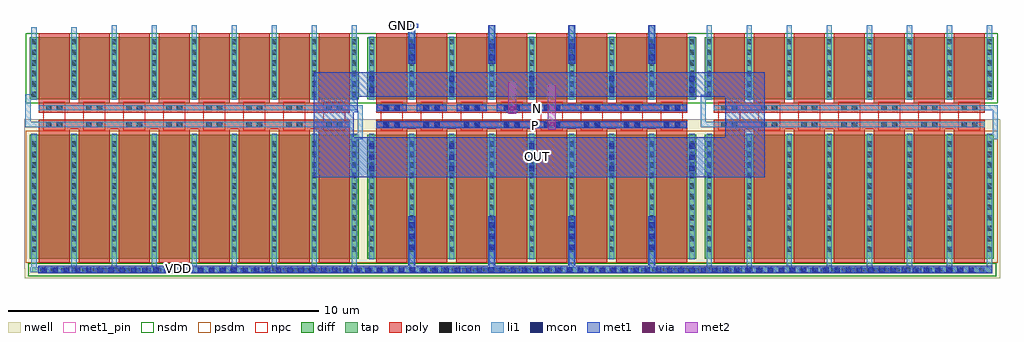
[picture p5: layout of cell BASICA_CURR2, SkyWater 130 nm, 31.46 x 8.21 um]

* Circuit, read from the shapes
.subckt BASICA_CURR2 GND N OUT P VDD
XM1 sky130_fd_pr__nfet_01v8_A54J54_5/S1 VDD sky130_fd_pr__nfet_01v8_A54J54_5/D0 VSUBS sky130_fd_pr__nfet_01v8 w=2 l=1
XM2 sky130_fd_pr__nfet_01v8_A54J54_5/D2 VDD sky130_fd_pr__nfet_01v8_A54J54_5/S1 VSUBS sky130_fd_pr__nfet_01v8 w=2 l=1
XM3 sky130_fd_pr__nfet_01v8_A54J54_5/S3 VDD sky130_fd_pr__nfet_01v8_A54J54_5/D2 VSUBS sky130_fd_pr__nfet_01v8 w=2 l=1
XM4 sky130_fd_pr__nfet_01v8_A54J54_5/D4 VDD sky130_fd_pr__nfet_01v8_A54J54_5/S3 VSUBS sky130_fd_pr__nfet_01v8 w=2 l=1
XM5 sky130_fd_pr__nfet_01v8_A54J54_5/S5 VDD sky130_fd_pr__nfet_01v8_A54J54_5/D4 VSUBS sky130_fd_pr__nfet_01v8 w=2 l=1
XM6 sky130_fd_pr__nfet_01v8_A54J54_5/D6 VDD sky130_fd_pr__nfet_01v8_A54J54_5/S5 VSUBS sky130_fd_pr__nfet_01v8 w=2 l=1
XM7 sky130_fd_pr__nfet_01v8_A54J54_5/S7 VDD sky130_fd_pr__nfet_01v8_A54J54_5/D6 VSUBS sky130_fd_pr__nfet_01v8 w=2 l=1
XM8 n1 VDD sky130_fd_pr__nfet_01v8_A54J54_5/S7 VSUBS sky130_fd_pr__nfet_01v8 w=2 l=1
XM9 GND N OUT VSUBS sky130_fd_pr__nfet_01v8 w=2 l=1 m=2
XM10 sky130_fd_pr__nfet_01v8_WVHLJF_1/S3 N OUT VSUBS sky130_fd_pr__nfet_01v8 w=2 l=1 m=2
XM11 sky130_fd_pr__nfet_01v8_WVHLJF_1/S5 N OUT VSUBS sky130_fd_pr__nfet_01v8 w=2 l=1 m=2
XM12 sky130_fd_pr__nfet_01v8_WVHLJF_1/S7 N OUT VSUBS sky130_fd_pr__nfet_01v8 w=2 l=1 m=2
XM13 sky130_fd_pr__nfet_01v8_SGNXS3_3/S1 VDD sky130_fd_pr__nfet_01v8_SGNXS3_3/D0 VSUBS sky130_fd_pr__nfet_01v8 w=2 l=1
XM14 sky130_fd_pr__nfet_01v8_SGNXS3_3/D2 VDD sky130_fd_pr__nfet_01v8_SGNXS3_3/S1 VSUBS sky130_fd_pr__nfet_01v8 w=2 l=1
XM15 sky130_fd_pr__nfet_01v8_SGNXS3_3/S3 VDD sky130_fd_pr__nfet_01v8_SGNXS3_3/D2 VSUBS sky130_fd_pr__nfet_01v8 w=2 l=1
XM16 sky130_fd_pr__nfet_01v8_SGNXS3_3/D4 VDD sky130_fd_pr__nfet_01v8_SGNXS3_3/S3 VSUBS sky130_fd_pr__nfet_01v8 w=2 l=1
XM17 sky130_fd_pr__nfet_01v8_SGNXS3_3/S5 VDD sky130_fd_pr__nfet_01v8_SGNXS3_3/D4 VSUBS sky130_fd_pr__nfet_01v8 w=2 l=1
XM18 sky130_fd_pr__nfet_01v8_SGNXS3_3/D6 VDD sky130_fd_pr__nfet_01v8_SGNXS3_3/S5 VSUBS sky130_fd_pr__nfet_01v8 w=2 l=1
XM19 sky130_fd_pr__nfet_01v8_SGNXS3_3/S6 VDD sky130_fd_pr__nfet_01v8_SGNXS3_3/D6 VSUBS sky130_fd_pr__nfet_01v8 w=2 l=1
XM20 VDD sky130_fd_pr__nfet_01v8_A54J54_5/D0 VDD VDD sky130_fd_pr__pfet_01v8 w=4 l=1 m=8
XM21 VDD P OUT VDD sky130_fd_pr__pfet_01v8 w=4 l=1 m=8
XM22 VDD sky130_fd_pr__nfet_01v8_SGNXS3_3/D0 VDD VDD sky130_fd_pr__pfet_01v8 w=4 l=1 m=7
.ends

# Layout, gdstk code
import gdstk
lib = gdstk.Library(unit=1e-6, precision=1e-09)
def R(c, l, rs):  # rectangles x0, y0, x1, y1
    for r in rs: c.add(gdstk.rectangle(r[:2], r[2:], *l))
def A(c, l, x, y, w, h, nx, ny, dx, dy):  # array of equal rectangles
    R(c, l, [(x+i*dx, y+j*dy, x+i*dx+w, y+j*dy+h) for i in range(nx) for j in range(ny)])
nwell = (64, 20)
diff = (65, 20)
tap = (65, 44)
poly = (66, 20)
licon = (66, 44)
li1 = (67, 20)
mcon = (67, 44)
met1_pin = (68, 16)
met1 = (68, 20)
via = (68, 44)
met2 = (69, 20)
nsdm = (93, 44)
psdm = (94, 20)
npc = (95, 20)

sky130_fd_pr__pfet_01v8_ = lib.new_cell('sky130_fd_pr__pfet_01v8_A72WCW')
R(sky130_fd_pr__pfet_01v8_, nwell, [(-5.485,-2.49,5.485,2.32)])
R(sky130_fd_pr__pfet_01v8_, diff, [(-5.305,-2.18,5.305,1.82)])
A(sky130_fd_pr__pfet_01v8_, poly, -5.015, -2.31, 1, 4.615, 8, 1, 1.29, 0)
A(sky130_fd_pr__pfet_01v8_, licon, -5.245, -1.965, 0.17, 0.17, 9, 11, 1.29, 0.34)
R(sky130_fd_pr__pfet_01v8_, licon, [(-4.77,2.055,-4.6,2.225), (-4.43,2.055,-4.26,2.225), (-3.48,2.055,-3.31,2.225), (-3.14,2.055,-2.97,2.225), (-2.19,2.055,-2.02,2.225), (-1.85,2.055,-1.68,2.225), (-0.9,2.055,-0.73,2.225), (-0.56,2.055,-0.39,2.225), (0.39,2.055,0.56,2.225), (0.73,2.055,0.9,2.225), (1.68,2.055,1.85,2.225), (2.02,2.055,2.19,2.225), (2.97,2.055,3.14,2.225), (3.31,2.055,3.48,2.225), (4.26,2.055,4.43,2.225), (4.6,2.055,4.77,2.225)])
A(sky130_fd_pr__pfet_01v8_, li1, -5.245, -2.2, 0.17, 4.04, 9, 1, 1.29, 0)
A(sky130_fd_pr__pfet_01v8_, li1, -5.015, 2.055, 1, 0.17, 8, 1, 1.29, 0)
A(sky130_fd_pr__pfet_01v8_, mcon, -3.955, -1.9, 0.17, 0.17, 4, 3, 2.58, 0.36)
A(sky130_fd_pr__pfet_01v8_, mcon, -5.245, 0.645, 0.17, 0.17, 5, 3, 2.58, 0.36)
R(sky130_fd_pr__pfet_01v8_, mcon, [(-4.78,2.055,-4.61,2.225), (-4.42,2.055,-4.25,2.225), (-3.49,2.055,-3.32,2.225), (-3.13,2.055,-2.96,2.225), (-2.2,2.055,-2.03,2.225), (-1.84,2.055,-1.67,2.225), (-0.91,2.055,-0.74,2.225), (-0.55,2.055,-0.38,2.225), (0.38,2.055,0.55,2.225), (0.74,2.055,0.91,2.225), (1.67,2.055,1.84,2.225), (2.03,2.055,2.2,2.225), (2.96,2.055,3.13,2.225), (3.32,2.055,3.49,2.225), (4.25,2.055,4.42,2.225), (4.61,2.055,4.78,2.225)])
A(sky130_fd_pr__pfet_01v8_, met1, -3.985, -2.095, 0.23, 1.285, 4, 1, 2.58, 0)
A(sky130_fd_pr__pfet_01v8_, met1, -5.275, 0.45, 0.23, 1.285, 5, 1, 2.58, 0)
A(sky130_fd_pr__pfet_01v8_, met1, -4.995, 2.025, 0.96, 0.23, 8, 1, 1.29, 0)
R(sky130_fd_pr__pfet_01v8_, psdm, [(-5.43,-2.305,5.43,1.945)])
A(sky130_fd_pr__pfet_01v8_, npc, -4.87, 1.955, 0.71, 0.37, 8, 1, 1.29, 0)
sky130_fd_pr__pfet_01v8_.add(gdstk.Label('D0', (-5.16,-0.18), layer=67, texttype=5))
sky130_fd_pr__pfet_01v8_.add(gdstk.Label('G0', (-4.515,2.14), layer=67, texttype=5))
sky130_fd_pr__pfet_01v8_.add(gdstk.Label('S1', (-3.87,-0.18), layer=67, texttype=5))
sky130_fd_pr__pfet_01v8_.add(gdstk.Label('G1', (-3.225,2.14), layer=67, texttype=5))
sky130_fd_pr__pfet_01v8_.add(gdstk.Label('D2', (-2.58,-0.18), layer=67, texttype=5))
sky130_fd_pr__pfet_01v8_.add(gdstk.Label('G2', (-1.935,2.14), layer=67, texttype=5))
sky130_fd_pr__pfet_01v8_.add(gdstk.Label('S3', (-1.29,-0.18), layer=67, texttype=5))
sky130_fd_pr__pfet_01v8_.add(gdstk.Label('G3', (-0.645,2.14), layer=67, texttype=5))
sky130_fd_pr__pfet_01v8_.add(gdstk.Label('D4', (0,-0.18), layer=67, texttype=5))
sky130_fd_pr__pfet_01v8_.add(gdstk.Label('G4', (0.645,2.14), layer=67, texttype=5))
sky130_fd_pr__pfet_01v8_.add(gdstk.Label('S5', (1.29,-0.18), layer=67, texttype=5))
sky130_fd_pr__pfet_01v8_.add(gdstk.Label('G5', (1.935,2.14), layer=67, texttype=5))
sky130_fd_pr__pfet_01v8_.add(gdstk.Label('D6', (2.58,-0.18), layer=67, texttype=5))
sky130_fd_pr__pfet_01v8_.add(gdstk.Label('G6', (3.225,2.14), layer=67, texttype=5))
sky130_fd_pr__pfet_01v8_.add(gdstk.Label('S7', (3.87,-0.18), layer=67, texttype=5))
sky130_fd_pr__pfet_01v8_.add(gdstk.Label('G7', (4.515,2.14), layer=67, texttype=5))

sky130_fd_pr__nfet_01v8_ = lib.new_cell('sky130_fd_pr__nfet_01v8_WVHLJF')
R(sky130_fd_pr__nfet_01v8_, diff, [(-5.305,-0.845,5.305,1.155)])
A(sky130_fd_pr__nfet_01v8_, poly, -5.015, -1.285, 1, 2.57, 8, 1, 1.29, 0)
A(sky130_fd_pr__nfet_01v8_, licon, -5.245, -0.78, 0.17, 0.17, 9, 6, 1.29, 0.34)
R(sky130_fd_pr__nfet_01v8_, licon, [(-4.77,-1.205,-4.6,-1.035), (-4.43,-1.205,-4.26,-1.035), (-3.48,-1.205,-3.31,-1.035), (-3.14,-1.205,-2.97,-1.035), (-2.19,-1.205,-2.02,-1.035), (-1.85,-1.205,-1.68,-1.035), (-0.9,-1.205,-0.73,-1.035), (-0.56,-1.205,-0.39,-1.035), (0.39,-1.205,0.56,-1.035), (0.73,-1.205,0.9,-1.035), (1.68,-1.205,1.85,-1.035), (2.02,-1.205,2.19,-1.035), (2.97,-1.205,3.14,-1.035), (3.31,-1.205,3.48,-1.035), (4.26,-1.205,4.43,-1.035), (4.6,-1.205,4.77,-1.035)])
A(sky130_fd_pr__nfet_01v8_, li1, -5.015, -1.205, 1, 0.17, 8, 1, 1.29, 0)
A(sky130_fd_pr__nfet_01v8_, li1, -5.245, -0.865, 0.17, 2.04, 9, 1, 1.29, 0)
A(sky130_fd_pr__nfet_01v8_, mcon, -5.245, -0.635, 0.17, 0.17, 5, 2, 2.58, 0.36)
A(sky130_fd_pr__nfet_01v8_, mcon, -3.955, 0.415, 0.17, 0.17, 4, 2, 2.58, 0.36)
R(sky130_fd_pr__nfet_01v8_, mcon, [(-4.78,-1.205,-4.61,-1.035), (-4.42,-1.205,-4.25,-1.035), (-3.49,-1.205,-3.32,-1.035), (-3.13,-1.205,-2.96,-1.035), (-2.2,-1.205,-2.03,-1.035), (-1.84,-1.205,-1.67,-1.035), (-0.91,-1.205,-0.74,-1.035), (-0.55,-1.205,-0.38,-1.035), (0.38,-1.205,0.55,-1.035), (0.74,-1.205,0.91,-1.035), (1.67,-1.205,1.84,-1.035), (2.03,-1.205,2.2,-1.035), (2.96,-1.205,3.13,-1.035), (3.32,-1.205,3.49,-1.035), (4.25,-1.205,4.42,-1.035), (4.61,-1.205,4.78,-1.035)])
A(sky130_fd_pr__nfet_01v8_, met1, -4.995, -1.235, 0.96, 0.23, 8, 1, 1.29, 0)
A(sky130_fd_pr__nfet_01v8_, met1, -5.275, -0.76, 0.23, 0.78, 5, 1, 2.58, 0)
A(sky130_fd_pr__nfet_01v8_, met1, -3.985, 0.29, 0.23, 0.78, 4, 1, 2.58, 0)
R(sky130_fd_pr__nfet_01v8_, nsdm, [(-5.43,-0.97,5.43,1.28)])
A(sky130_fd_pr__nfet_01v8_, npc, -4.87, -1.305, 0.71, 0.37, 8, 1, 1.29, 0)
sky130_fd_pr__nfet_01v8_.add(gdstk.Label('D0', (-5.16,0.155), layer=67, texttype=5))
sky130_fd_pr__nfet_01v8_.add(gdstk.Label('G0', (-4.515,-1.12), layer=67, texttype=5))
sky130_fd_pr__nfet_01v8_.add(gdstk.Label('S1', (-3.87,0.155), layer=67, texttype=5))
sky130_fd_pr__nfet_01v8_.add(gdstk.Label('G1', (-3.225,-1.12), layer=67, texttype=5))
sky130_fd_pr__nfet_01v8_.add(gdstk.Label('D2', (-2.58,0.155), layer=67, texttype=5))
sky130_fd_pr__nfet_01v8_.add(gdstk.Label('G2', (-1.935,-1.12), layer=67, texttype=5))
sky130_fd_pr__nfet_01v8_.add(gdstk.Label('S3', (-1.29,0.155), layer=67, texttype=5))
sky130_fd_pr__nfet_01v8_.add(gdstk.Label('G3', (-0.645,-1.12), layer=67, texttype=5))
sky130_fd_pr__nfet_01v8_.add(gdstk.Label('D4', (0,0.155), layer=67, texttype=5))
sky130_fd_pr__nfet_01v8_.add(gdstk.Label('G4', (0.645,-1.12), layer=67, texttype=5))
sky130_fd_pr__nfet_01v8_.add(gdstk.Label('S5', (1.29,0.155), layer=67, texttype=5))
sky130_fd_pr__nfet_01v8_.add(gdstk.Label('G5', (1.935,-1.12), layer=67, texttype=5))
sky130_fd_pr__nfet_01v8_.add(gdstk.Label('D6', (2.58,0.155), layer=67, texttype=5))
sky130_fd_pr__nfet_01v8_.add(gdstk.Label('G6', (3.225,-1.12), layer=67, texttype=5))
sky130_fd_pr__nfet_01v8_.add(gdstk.Label('S7', (3.87,0.155), layer=67, texttype=5))
sky130_fd_pr__nfet_01v8_.add(gdstk.Label('G7', (4.515,-1.12), layer=67, texttype=5))

c_sky130_fd_pr__pfet_01v8_ = lib.new_cell('sky130_fd_pr__pfet_01v8_CNM2L8')
R(c_sky130_fd_pr__pfet_01v8_, nwell, [(-4.84,-2.49,4.84,2.32)])
R(c_sky130_fd_pr__pfet_01v8_, diff, [(-4.66,-2.18,4.66,1.82)])
A(c_sky130_fd_pr__pfet_01v8_, poly, -4.37, -2.31, 1, 4.615, 7, 1, 1.29, 0)
A(c_sky130_fd_pr__pfet_01v8_, licon, -4.6, -1.965, 0.17, 0.17, 8, 11, 1.29, 0.34)
R(c_sky130_fd_pr__pfet_01v8_, licon, [(-4.125,2.055,-3.955,2.225), (-3.785,2.055,-3.615,2.225), (-2.835,2.055,-2.665,2.225), (-2.495,2.055,-2.325,2.225), (-1.545,2.055,-1.375,2.225), (-1.205,2.055,-1.035,2.225), (-0.255,2.055,-0.085,2.225), (0.085,2.055,0.255,2.225), (1.035,2.055,1.205,2.225), (1.375,2.055,1.545,2.225), (2.325,2.055,2.495,2.225), (2.665,2.055,2.835,2.225), (3.615,2.055,3.785,2.225), (3.955,2.055,4.125,2.225)])
A(c_sky130_fd_pr__pfet_01v8_, li1, -4.6, -2.2, 0.17, 4.04, 8, 1, 1.29, 0)
A(c_sky130_fd_pr__pfet_01v8_, li1, -4.37, 2.055, 1, 0.17, 7, 1, 1.29, 0)
R(c_sky130_fd_pr__pfet_01v8_, psdm, [(-4.785,-2.305,4.785,1.945)])
A(c_sky130_fd_pr__pfet_01v8_, npc, -4.225, 1.955, 0.71, 0.37, 7, 1, 1.29, 0)
c_sky130_fd_pr__pfet_01v8_.add(gdstk.Label('D0', (-4.515,-0.18), layer=67, texttype=5))
c_sky130_fd_pr__pfet_01v8_.add(gdstk.Label('G0', (-3.87,2.14), layer=67, texttype=5))
c_sky130_fd_pr__pfet_01v8_.add(gdstk.Label('S1', (-3.225,-0.18), layer=67, texttype=5))
c_sky130_fd_pr__pfet_01v8_.add(gdstk.Label('G1', (-2.58,2.14), layer=67, texttype=5))
c_sky130_fd_pr__pfet_01v8_.add(gdstk.Label('D2', (-1.935,-0.18), layer=67, texttype=5))
c_sky130_fd_pr__pfet_01v8_.add(gdstk.Label('G2', (-1.29,2.14), layer=67, texttype=5))
c_sky130_fd_pr__pfet_01v8_.add(gdstk.Label('S3', (-0.645,-0.18), layer=67, texttype=5))
c_sky130_fd_pr__pfet_01v8_.add(gdstk.Label('G3', (0,2.14), layer=67, texttype=5))
c_sky130_fd_pr__pfet_01v8_.add(gdstk.Label('D4', (0.645,-0.18), layer=67, texttype=5))
c_sky130_fd_pr__pfet_01v8_.add(gdstk.Label('G4', (1.29,2.14), layer=67, texttype=5))
c_sky130_fd_pr__pfet_01v8_.add(gdstk.Label('S5', (1.935,-0.18), layer=67, texttype=5))
c_sky130_fd_pr__pfet_01v8_.add(gdstk.Label('G5', (2.58,2.14), layer=67, texttype=5))
c_sky130_fd_pr__pfet_01v8_.add(gdstk.Label('D6', (3.225,-0.18), layer=67, texttype=5))
c_sky130_fd_pr__pfet_01v8_.add(gdstk.Label('S6', (4.515,-0.18), layer=67, texttype=5))
c_sky130_fd_pr__pfet_01v8_.add(gdstk.Label('G6', (3.87,2.14), layer=67, texttype=5))

c_sky130_fd_pr__nfet_01v8_ = lib.new_cell('sky130_fd_pr__nfet_01v8_SGNXS3')
R(c_sky130_fd_pr__nfet_01v8_, diff, [(-4.66,-0.845,4.66,1.155)])
A(c_sky130_fd_pr__nfet_01v8_, poly, -4.37, -1.285, 1, 2.57, 7, 1, 1.29, 0)
A(c_sky130_fd_pr__nfet_01v8_, licon, -4.6, -0.78, 0.17, 0.17, 8, 6, 1.29, 0.34)
R(c_sky130_fd_pr__nfet_01v8_, licon, [(-4.125,-1.205,-3.955,-1.035), (-3.785,-1.205,-3.615,-1.035), (-2.835,-1.205,-2.665,-1.035), (-2.495,-1.205,-2.325,-1.035), (-1.545,-1.205,-1.375,-1.035), (-1.205,-1.205,-1.035,-1.035), (-0.255,-1.205,-0.085,-1.035), (0.085,-1.205,0.255,-1.035), (1.035,-1.205,1.205,-1.035), (1.375,-1.205,1.545,-1.035), (2.325,-1.205,2.495,-1.035), (2.665,-1.205,2.835,-1.035), (3.615,-1.205,3.785,-1.035), (3.955,-1.205,4.125,-1.035)])
A(c_sky130_fd_pr__nfet_01v8_, li1, -4.37, -1.205, 1, 0.17, 7, 1, 1.29, 0)
A(c_sky130_fd_pr__nfet_01v8_, li1, -4.6, -0.865, 0.17, 2.04, 8, 1, 1.29, 0)
R(c_sky130_fd_pr__nfet_01v8_, nsdm, [(-4.785,-0.97,4.785,1.28)])
A(c_sky130_fd_pr__nfet_01v8_, npc, -4.225, -1.305, 0.71, 0.37, 7, 1, 1.29, 0)
c_sky130_fd_pr__nfet_01v8_.add(gdstk.Label('D0', (-4.515,0.155), layer=67, texttype=5))
c_sky130_fd_pr__nfet_01v8_.add(gdstk.Label('G0', (-3.87,-1.12), layer=67, texttype=5))
c_sky130_fd_pr__nfet_01v8_.add(gdstk.Label('S1', (-3.225,0.155), layer=67, texttype=5))
c_sky130_fd_pr__nfet_01v8_.add(gdstk.Label('G1', (-2.58,-1.12), layer=67, texttype=5))
c_sky130_fd_pr__nfet_01v8_.add(gdstk.Label('D2', (-1.935,0.155), layer=67, texttype=5))
c_sky130_fd_pr__nfet_01v8_.add(gdstk.Label('G2', (-1.29,-1.12), layer=67, texttype=5))
c_sky130_fd_pr__nfet_01v8_.add(gdstk.Label('S3', (-0.645,0.155), layer=67, texttype=5))
c_sky130_fd_pr__nfet_01v8_.add(gdstk.Label('G3', (0,-1.12), layer=67, texttype=5))
c_sky130_fd_pr__nfet_01v8_.add(gdstk.Label('D4', (0.645,0.155), layer=67, texttype=5))
c_sky130_fd_pr__nfet_01v8_.add(gdstk.Label('G4', (1.29,-1.12), layer=67, texttype=5))
c_sky130_fd_pr__nfet_01v8_.add(gdstk.Label('S5', (1.935,0.155), layer=67, texttype=5))
c_sky130_fd_pr__nfet_01v8_.add(gdstk.Label('G5', (2.58,-1.12), layer=67, texttype=5))
c_sky130_fd_pr__nfet_01v8_.add(gdstk.Label('D6', (3.225,0.155), layer=67, texttype=5))
c_sky130_fd_pr__nfet_01v8_.add(gdstk.Label('S6', (4.515,0.155), layer=67, texttype=5))
c_sky130_fd_pr__nfet_01v8_.add(gdstk.Label('G6', (3.87,-1.12), layer=67, texttype=5))

c_sky130_fd_pr__pfet_01v8__ = lib.new_cell('sky130_fd_pr__pfet_01v8_CNM2X7')
R(c_sky130_fd_pr__pfet_01v8__, nwell, [(-5.485,-2.49,5.485,2.32)])
R(c_sky130_fd_pr__pfet_01v8__, diff, [(-5.305,-2.18,5.305,1.82)])
A(c_sky130_fd_pr__pfet_01v8__, poly, -5.015, -2.31, 1, 4.615, 8, 1, 1.29, 0)
A(c_sky130_fd_pr__pfet_01v8__, licon, -5.245, -1.965, 0.17, 0.17, 9, 11, 1.29, 0.34)
R(c_sky130_fd_pr__pfet_01v8__, licon, [(-4.77,2.055,-4.6,2.225), (-4.43,2.055,-4.26,2.225), (-3.48,2.055,-3.31,2.225), (-3.14,2.055,-2.97,2.225), (-2.19,2.055,-2.02,2.225), (-1.85,2.055,-1.68,2.225), (-0.9,2.055,-0.73,2.225), (-0.56,2.055,-0.39,2.225), (0.39,2.055,0.56,2.225), (0.73,2.055,0.9,2.225), (1.68,2.055,1.85,2.225), (2.02,2.055,2.19,2.225), (2.97,2.055,3.14,2.225), (3.31,2.055,3.48,2.225), (4.26,2.055,4.43,2.225), (4.6,2.055,4.77,2.225)])
A(c_sky130_fd_pr__pfet_01v8__, li1, -5.245, -2.2, 0.17, 4.04, 9, 1, 1.29, 0)
A(c_sky130_fd_pr__pfet_01v8__, li1, -5.015, 2.055, 1, 0.17, 8, 1, 1.29, 0)
R(c_sky130_fd_pr__pfet_01v8__, psdm, [(-5.43,-2.305,5.43,1.945)])
A(c_sky130_fd_pr__pfet_01v8__, npc, -4.87, 1.955, 0.71, 0.37, 8, 1, 1.29, 0)
c_sky130_fd_pr__pfet_01v8__.add(gdstk.Label('D0', (-5.16,-0.18), layer=67, texttype=5))
c_sky130_fd_pr__pfet_01v8__.add(gdstk.Label('G0', (-4.515,2.14), layer=67, texttype=5))
c_sky130_fd_pr__pfet_01v8__.add(gdstk.Label('S1', (-3.87,-0.18), layer=67, texttype=5))
c_sky130_fd_pr__pfet_01v8__.add(gdstk.Label('G1', (-3.225,2.14), layer=67, texttype=5))
c_sky130_fd_pr__pfet_01v8__.add(gdstk.Label('D2', (-2.58,-0.18), layer=67, texttype=5))
c_sky130_fd_pr__pfet_01v8__.add(gdstk.Label('G2', (-1.935,2.14), layer=67, texttype=5))
c_sky130_fd_pr__pfet_01v8__.add(gdstk.Label('S3', (-1.29,-0.18), layer=67, texttype=5))
c_sky130_fd_pr__pfet_01v8__.add(gdstk.Label('G3', (-0.645,2.14), layer=67, texttype=5))
c_sky130_fd_pr__pfet_01v8__.add(gdstk.Label('D4', (0,-0.18), layer=67, texttype=5))
c_sky130_fd_pr__pfet_01v8__.add(gdstk.Label('G4', (0.645,2.14), layer=67, texttype=5))
c_sky130_fd_pr__pfet_01v8__.add(gdstk.Label('S5', (1.29,-0.18), layer=67, texttype=5))
c_sky130_fd_pr__pfet_01v8__.add(gdstk.Label('G5', (1.935,2.14), layer=67, texttype=5))
c_sky130_fd_pr__pfet_01v8__.add(gdstk.Label('D6', (2.58,-0.18), layer=67, texttype=5))
c_sky130_fd_pr__pfet_01v8__.add(gdstk.Label('G6', (3.225,2.14), layer=67, texttype=5))
c_sky130_fd_pr__pfet_01v8__.add(gdstk.Label('S7', (3.87,-0.18), layer=67, texttype=5))
c_sky130_fd_pr__pfet_01v8__.add(gdstk.Label('G7', (4.515,2.14), layer=67, texttype=5))

c_sky130_fd_pr__nfet_01v8__ = lib.new_cell('sky130_fd_pr__nfet_01v8_A54J54')
R(c_sky130_fd_pr__nfet_01v8__, diff, [(-5.305,-0.845,5.305,1.155)])
A(c_sky130_fd_pr__nfet_01v8__, poly, -5.015, -1.285, 1, 2.57, 8, 1, 1.29, 0)
A(c_sky130_fd_pr__nfet_01v8__, licon, -5.245, -0.78, 0.17, 0.17, 9, 6, 1.29, 0.34)
R(c_sky130_fd_pr__nfet_01v8__, licon, [(-4.77,-1.205,-4.6,-1.035), (-4.43,-1.205,-4.26,-1.035), (-3.48,-1.205,-3.31,-1.035), (-3.14,-1.205,-2.97,-1.035), (-2.19,-1.205,-2.02,-1.035), (-1.85,-1.205,-1.68,-1.035), (-0.9,-1.205,-0.73,-1.035), (-0.56,-1.205,-0.39,-1.035), (0.39,-1.205,0.56,-1.035), (0.73,-1.205,0.9,-1.035), (1.68,-1.205,1.85,-1.035), (2.02,-1.205,2.19,-1.035), (2.97,-1.205,3.14,-1.035), (3.31,-1.205,3.48,-1.035), (4.26,-1.205,4.43,-1.035), (4.6,-1.205,4.77,-1.035)])
A(c_sky130_fd_pr__nfet_01v8__, li1, -5.015, -1.205, 1, 0.17, 8, 1, 1.29, 0)
A(c_sky130_fd_pr__nfet_01v8__, li1, -5.245, -0.865, 0.17, 2.04, 9, 1, 1.29, 0)
R(c_sky130_fd_pr__nfet_01v8__, nsdm, [(-5.43,-0.97,5.43,1.28)])
A(c_sky130_fd_pr__nfet_01v8__, npc, -4.87, -1.305, 0.71, 0.37, 8, 1, 1.29, 0)
c_sky130_fd_pr__nfet_01v8__.add(gdstk.Label('D0', (-5.16,0.155), layer=67, texttype=5))
c_sky130_fd_pr__nfet_01v8__.add(gdstk.Label('G0', (-4.515,-1.12), layer=67, texttype=5))
c_sky130_fd_pr__nfet_01v8__.add(gdstk.Label('S1', (-3.87,0.155), layer=67, texttype=5))
c_sky130_fd_pr__nfet_01v8__.add(gdstk.Label('G1', (-3.225,-1.12), layer=67, texttype=5))
c_sky130_fd_pr__nfet_01v8__.add(gdstk.Label('D2', (-2.58,0.155), layer=67, texttype=5))
c_sky130_fd_pr__nfet_01v8__.add(gdstk.Label('G2', (-1.935,-1.12), layer=67, texttype=5))
c_sky130_fd_pr__nfet_01v8__.add(gdstk.Label('S3', (-1.29,0.155), layer=67, texttype=5))
c_sky130_fd_pr__nfet_01v8__.add(gdstk.Label('G3', (-0.645,-1.12), layer=67, texttype=5))
c_sky130_fd_pr__nfet_01v8__.add(gdstk.Label('D4', (0,0.155), layer=67, texttype=5))
c_sky130_fd_pr__nfet_01v8__.add(gdstk.Label('G4', (0.645,-1.12), layer=67, texttype=5))
c_sky130_fd_pr__nfet_01v8__.add(gdstk.Label('S5', (1.29,0.155), layer=67, texttype=5))
c_sky130_fd_pr__nfet_01v8__.add(gdstk.Label('G5', (1.935,-1.12), layer=67, texttype=5))
c_sky130_fd_pr__nfet_01v8__.add(gdstk.Label('D6', (2.58,0.155), layer=67, texttype=5))
c_sky130_fd_pr__nfet_01v8__.add(gdstk.Label('G6', (3.225,-1.12), layer=67, texttype=5))
c_sky130_fd_pr__nfet_01v8__.add(gdstk.Label('S7', (3.87,0.155), layer=67, texttype=5))
c_sky130_fd_pr__nfet_01v8__.add(gdstk.Label('G7', (4.515,-1.12), layer=67, texttype=5))

basica_curr2 = lib.new_cell('BASICA_CURR2')
R(basica_curr2, nwell, [(13.21,-3.455,44.645,1.23), (13.21,1.23,32.59,1.3), (32.86,1.23,44.645,1.3), (13.21,1.3,32.24,1.68), (35.78,1.3,44.645,1.68)])
R(basica_curr2, tap, [(13.45,-3.26,44.395,-3.09)])
R(basica_curr2, poly, [(13.66,1.345,23.57,1.665), (25.14,1.345,33.85,1.665), (35.76,1.345,43.82,1.665), (13.66,1.88,23.53,2.2), (24.93,1.88,33.96,2.2), (35.76,1.88,44.08,2.2)])
A(basica_curr2, licon, 13.71, -3.26, 0.17, 0.17, 90, 1, 0.34, 0)
A(basica_curr2, li1, 18.59, 4.325, 0.17, 0.38, 5, 1, 1.29, 0)
A(basica_curr2, li1, 35.19, 4.325, 0.17, 0.38, 6, 1, 1.29, 0)
R(basica_curr2, li1, [(13.39,-3.26,44.395,-3.09), (13.43,-3.09,13.6,-2.82), (14.72,-3.09,14.89,-2.82), (16.01,-3.09,16.18,-2.805), (17.3,-3.09,17.47,-2.815), (18.59,-3.09,18.76,-2.79), (19.88,-3.09,20.05,-2.79), (21.17,-3.09,21.34,-2.795), (22.46,-3.09,22.63,-2.805), (23.75,-3.09,23.92,-2.785), (25.6,-3.09,25.77,-2.795), (28.18,-3.09,28.35,-2.8), (30.76,-3.09,30.93,-2.76), (33.34,-3.09,33.51,-2.795), (35.19,-3.09,35.36,-2.83), (36.48,-3.09,36.65,-2.825), (37.77,-3.09,37.94,-2.81), (39.06,-3.09,39.23,-2.805), (40.35,-3.09,40.52,-2.795), (41.64,-3.09,41.81,-2.735), (42.93,-3.09,43.1,-2.745), (44.22,-3.09,44.39,-2.83), (23.75,1.03,24.115,1.2), (44.22,1.03,44.575,1.2), (23.945,1.2,24.115,1.96), (44.405,1.2,44.575,1.96), (13.235,1.415,23.57,1.585), (25.135,1.415,33.905,1.585), (34.995,1.415,43.925,1.585), (13.235,1.585,13.405,2.3), (34.995,1.585,35.165,2.3), (13.66,1.96,23.39,2.13), (23.53,1.96,24.115,2.13), (25.125,1.96,33.775,2.13), (35.76,1.96,44.575,2.13), (13.235,2.3,13.5,2.315), (34.995,2.3,35.36,2.47), (13.235,2.315,13.585,2.485), (25.6,4.26,25.77,4.705), (28.18,4.26,28.35,4.705), (13.43,4.305,13.6,4.635), (14.72,4.31,14.89,4.64), (16.01,4.315,16.18,4.695), (33.34,4.32,33.51,4.7), (30.76,4.325,30.93,4.705), (17.3,4.33,17.47,4.71), (42.93,4.33,43.1,4.71), (44.22,4.33,44.39,4.71)])
A(basica_curr2, mcon, 13.755, -3.26, 0.17, 0.17, 84, 1, 0.36, 0)
R(basica_curr2, met1_pin, [(17.67,-3.23,18.67,-3.075), (29.24,-0.02,30.24,0.98), (29.19,1.425,30.19,1.55), (29.24,1.97,30.24,2.095), (24.89,4.625,25.89,4.755)])
R(basica_curr2, met1, [(13.655,-3.29,44.395,-3.05), (25.57,-3.05,25.8,-2.675), (28.15,-3.05,28.38,-2.66), (30.73,-3.05,30.96,-2.685), (33.31,-3.05,33.54,-2.67), (22.535,-0.19,37.07,1.095), (22.535,1.095,23.82,1.895), (35.785,1.095,37.07,2.405), (24.915,1.385,33.745,1.615), (30.025,1.615,30.385,1.645), (22.535,1.895,23.94,2.405), (28.74,1.895,29.1,2.155), (29.33,1.93,33.845,1.97), (29.24,1.97,33.845,2.095), (29.33,2.095,33.845,2.16), (22.535,2.405,37.07,3.185), (33.31,4.18,33.54,4.7), (25.57,4.185,25.8,4.625), (28.15,4.185,28.38,4.705), (30.73,4.185,30.96,4.705), (24.89,4.625,25.89,4.755)])
R(basica_curr2, via, [(30.13,1.44,30.28,1.59), (28.845,1.95,28.995,2.1)])
R(basica_curr2, met2, [(30.075,1.335,30.335,2.785), (28.79,1.845,29.05,2.875)])
R(basica_curr2, nsdm, [(13.325,-3.385,44.52,-2.965), (24.105,2.195,24.125,4.445), (34.985,2.195,35.005,4.445)])
R(basica_curr2, psdm, [(24.105,-2.945,24.125,1.305), (34.985,-2.945,35.005,1.305)])
A(basica_curr2, npc, 13.805, 1.685, 0.71, 0.175, 8, 1, 1.29, 0)
A(basica_curr2, npc, 24.685, 1.685, 0.71, 0.175, 8, 1, 1.29, 0)
A(basica_curr2, npc, 35.565, 1.685, 0.71, 0.175, 7, 1, 1.29, 0)
basica_curr2.add(gdstk.Reference(sky130_fd_pr__pfet_01v8_, (29.555,-0.64)))
basica_curr2.add(gdstk.Reference(sky130_fd_pr__nfet_01v8_, (29.555,3.165)))
basica_curr2.add(gdstk.Reference(c_sky130_fd_pr__pfet_01v8_, (39.79,-0.64)))
basica_curr2.add(gdstk.Reference(c_sky130_fd_pr__nfet_01v8_, (39.79,3.165)))
basica_curr2.add(gdstk.Reference(c_sky130_fd_pr__pfet_01v8__, (18.675,-0.64)))
basica_curr2.add(gdstk.Reference(c_sky130_fd_pr__nfet_01v8__, (18.675,3.165)))
basica_curr2.add(gdstk.Label('VDD', (18.17,-3.152), layer=68, texttype=5))
basica_curr2.add(gdstk.Label('P', (29.69,1.487), layer=68, texttype=5))
basica_curr2.add(gdstk.Label('GND', (25.39,4.69), layer=68, texttype=5))
basica_curr2.add(gdstk.Label('OUT', (29.74,0.48), layer=68, texttype=5))
basica_curr2.add(gdstk.Label('N', (29.74,2.032), layer=68, texttype=5))

lib.write_gds('BASICA_CURR2.gds')
